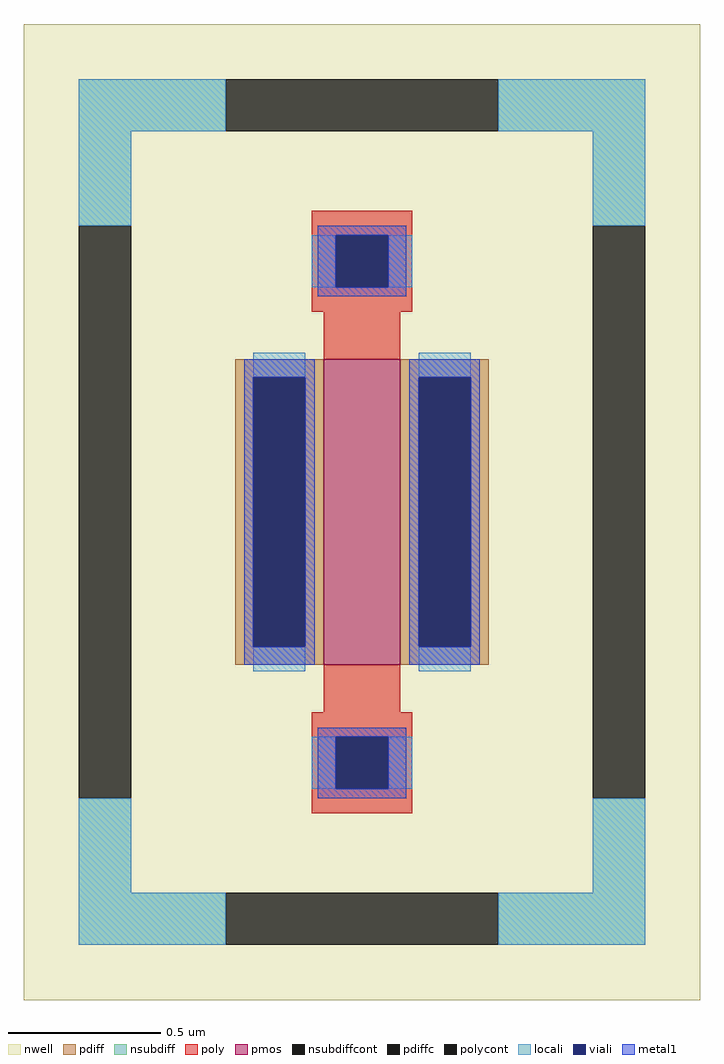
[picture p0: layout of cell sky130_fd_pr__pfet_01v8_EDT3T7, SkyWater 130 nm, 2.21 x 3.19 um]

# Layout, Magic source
magic
tech sky130A
magscale 1 2
<< nwell >>
rect -221 -319 221 319
<< pmos >>
rect -25 -100 25 100
<< pdiff >>
rect -83 88 -25 100
rect -83 -88 -71 88
rect -37 -88 -25 88
rect -83 -100 -25 -88
rect 25 88 83 100
rect 25 -88 37 88
rect 71 -88 83 88
rect 25 -100 83 -88
<< pdiffc >>
rect -71 -88 -37 88
rect 37 -88 71 88
<< nsubdiff >>
rect -185 249 -89 283
rect 89 249 185 283
rect -185 187 -151 249
rect 151 187 185 249
rect -185 -249 -151 -187
rect 151 -249 185 -187
rect -185 -283 -89 -249
rect 89 -283 185 -249
<< nsubdiffcont >>
rect -89 249 89 283
rect -185 -187 -151 187
rect 151 -187 185 187
rect -89 -283 89 -249
<< poly >>
rect -33 181 33 197
rect -33 147 -17 181
rect 17 147 33 181
rect -33 131 33 147
rect -25 100 25 131
rect -25 -131 25 -100
rect -33 -147 33 -131
rect -33 -181 -17 -147
rect 17 -181 33 -147
rect -33 -197 33 -181
<< polycont >>
rect -17 147 17 181
rect -17 -181 17 -147
<< locali >>
rect -185 249 -89 283
rect 89 249 185 283
rect -185 187 -151 249
rect 151 187 185 249
rect -33 147 -17 181
rect 17 147 33 181
rect -71 88 -37 104
rect -71 -104 -37 -88
rect 37 88 71 104
rect 37 -104 71 -88
rect -33 -181 -17 -147
rect 17 -181 33 -147
rect -185 -249 -151 -187
rect 151 -249 185 -187
rect -185 -283 -89 -249
rect 89 -283 185 -249
<< viali >>
rect -17 147 17 181
rect -71 -88 -37 88
rect 37 -88 71 88
rect -17 -181 17 -147
<< metal1 >>
rect -29 181 29 187
rect -29 147 -17 181
rect 17 147 29 181
rect -29 141 29 147
rect -77 88 -31 100
rect -77 -88 -71 88
rect -37 -88 -31 88
rect -77 -100 -31 -88
rect 31 88 77 100
rect 31 -88 37 88
rect 71 -88 77 88
rect 31 -100 77 -88
rect -29 -147 29 -141
rect -29 -181 -17 -147
rect 17 -181 29 -147
rect -29 -187 29 -181
<< properties >>
string FIXED_BBOX -168 -266 168 266
string gencell sky130_fd_pr__pfet_01v8
string library sky130
string parameters w 1.0 l 0.25 m 1 nf 1 diffcov 100 polycov 100 guard 1 glc 1 grc 1 gtc 1 gbc 1 tbcov 100 rlcov 100 topc 1 botc 1 poverlap 0 doverlap 1 lmin 0.15 wmin 0.42 compatible {sky130_fd_pr__pfet_01v8  sky130_fd_pr__pfet_01v8_lvt sky130_fd_pr__pfet_01v8_hvt  sky130_fd_pr__pfet_g5v0d10v5} full_metal 1 viasrc 100 viadrn 100 viagate 100 viagb 0 viagr 0 viagl 0 viagt 0
<< end >>
